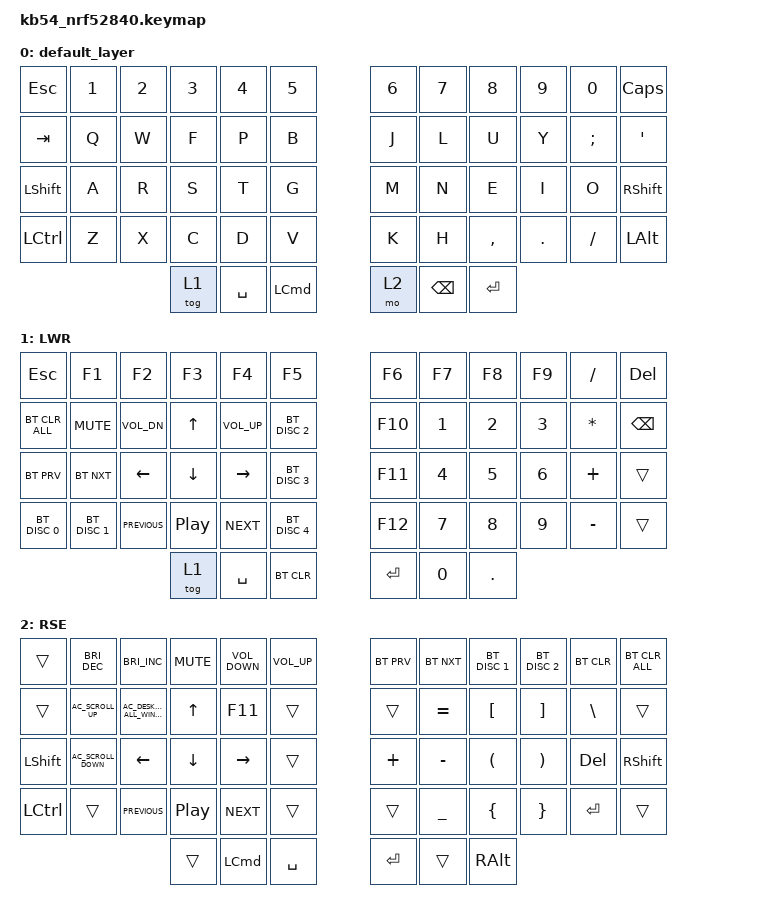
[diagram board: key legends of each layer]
/*
 * Copyright (c) 2020 The ZMK Contributors
 *
 * SPDX-License-Identifier: MIT
 */

#include <behaviors.dtsi>
#include <dt-bindings/zmk/bt.h>
#include <dt-bindings/zmk/keys.h>

/ {
    keymap {
        compatible = "zmk,keymap";

        default_layer {
            // -----------------------------------------------------------------------------------------
            // |   `  |  1  |  2  |  3  |  4  |  5  |   |  6  |  7   |  8  |  9  |  0  |  DEL |
            // |  TAB |  Q  |  W  |  E  |  R  |  T  |   |  Y  |  U   |  I  |  O  |  P  | BSPC |
            // | CTRL |  A  |  S  |  D  |  F  |  G  |   |  H  |  J   |  K  |  L  |  ;  |  '   |
            // | SHFT |  Z  |  X  |  C  |  V  |  B  |   |  N  |  M   |  ,  |  .  |  /  | ESC  |
            //                    | GUI | LWR | SPC |   | ENT | RSE  | ALT |

            bindings = <
&kp ESC    &kp N1  &kp N2  &kp N3  &kp N4     &kp N5              &kp N6  &kp N7         &kp N8     &kp N9   &kp N0     &kp CAPS
&kp TAB    &kp Q   &kp W   &kp F   &kp P      &kp B               &kp J   &kp L          &kp U      &kp Y    &kp SEMI   &kp APOS
&kp LSHFT  &kp A   &kp R   &kp S   &kp T      &kp G               &kp M   &kp N          &kp E      &kp I    &kp O      &kp RSHIFT
&kp LCTRL  &kp Z   &kp X   &kp C   &kp D      &kp V               &kp K   &kp H          &kp COMMA  &kp DOT  &kp SLASH  &kp LEFT_ALT
                           &tog 1  &kp SPACE  &kp LEFT_COMMAND    &mo 2   &kp BACKSPACE  &kp ENTER
            >;
        };

        lower_layer {
            display-name = "LWR";
            label = "LWR";

            // -----------------------------------------------------------------------------------------
            // |   `  |  1  |  2  |  3  |  4  |  5  |   |  6  |  7  |  8  |  9  |  0  |  DEL |
            // |  TAB |  !  |  @  |  #  |  $  |  %  |   |  ^  |  &  |  *  |  (  |  )  | BSPC |
            // | BTCLR| BT1 | BT2 | BT3 | BT4 | BT5 |   | LFT | DWN |  UP | RGT |     |      |
            // | SHFT |     |     |     |     |     |   |     |     |     |     |     |      |
            //                    | GUI |     | SPC |   | ENT |     | ALT |

            bindings = <
&kp ESCAPE      &kp F1         &kp F2          &kp F3            &kp F4           &kp F5           &kp F6   &kp F7        &kp F8        &kp F9        &kp SLASH     &kp DEL
&bt BT_CLR_ALL  &kp K_MUTE     &kp C_VOL_DN    &kp UP_ARROW      &kp C_VOLUME_UP  &bt BT_DISC 2    &kp F10  &kp NUMBER_1  &kp NUMBER_2  &kp NUMBER_3  &kp ASTERISK  &kp BSPC
&bt BT_PRV      &bt BT_NXT     &kp LEFT_ARROW  &kp DOWN          &kp RIGHT_ARROW  &bt BT_DISC 3    &kp F11  &kp NUMBER_4  &kp N5        &kp NUMBER_6  &kp PLUS      &trans
&bt BT_DISC 0   &bt BT_DISC 1  &kp C_PREVIOUS  &kp C_PLAY_PAUSE  &kp C_NEXT       &bt BT_DISC 4    &kp F12  &kp N7        &kp N8        &kp N9        &kp MINUS     &trans
                                               &tog 1            &kp SPACE        &bt BT_CLR       &kp RET  &kp N0        &kp PERIOD
            >;
        };

        raise_layer {
            display-name = "RSE";
            label = "RSE";

            // -----------------------------------------------------------------------------------------
            // |   `  |  1  |  2  |  3  |  4  |  5  |   |  6  |  7  |  8  |  9  |  0  |  DEL |
            // |  TAB |     |VOL- |VOL+ | P/P | PRV |   | NXT | BR- | BR+ |  (  |  )  | BSPC |
            // | CTRL |     |     |     |     |     |   |  -  |  =  |  [  |  ]  |  \  |  `   |
            // | SHFT |     |     |     |     |     |   |  _  |  +  |  {  |  }  | "|" |  ~   |
            //                    | GUI |     | SPC |   | ENT |     | ALT |

            bindings = <
&trans     &kp C_BRIGHTNESS_DEC  &kp C_BRIGHTNESS_INC               &kp K_MUTE        &kp C_VOLUME_DOWN  &kp C_VOL_UP    &bt BT_PRV  &bt BT_NXT  &bt BT_DISC 1     &bt BT_DISC 2      &bt BT_CLR     &bt BT_CLR_ALL
&trans     &kp C_AC_SCROLL_UP    &kp C_AC_DESKTOP_SHOW_ALL_WINDOWS  &kp UP_ARROW      &kp F11            &trans          &trans      &kp EQUAL   &kp LEFT_BRACKET  &kp RIGHT_BRACKET  &kp BACKSLASH  &trans
&kp LSHFT  &kp C_AC_SCROLL_DOWN  &kp LEFT                           &kp DOWN_ARROW    &kp RIGHT          &trans          &kp PLUS    &kp MINUS   &kp LPAR          &kp RPAR           &kp DELETE     &kp RSHFT
&kp LCTRL  &trans                &kp C_PREVIOUS                     &kp C_PLAY_PAUSE  &kp K_NEXT         &trans          &trans      &kp UNDER   &kp LBRC          &kp RBRC           &kp ENTER      &trans
                                                                    &trans            &kp LCMD           &kp SPACE       &kp RET     &trans      &kp RALT
            >;
        };
    };
};
